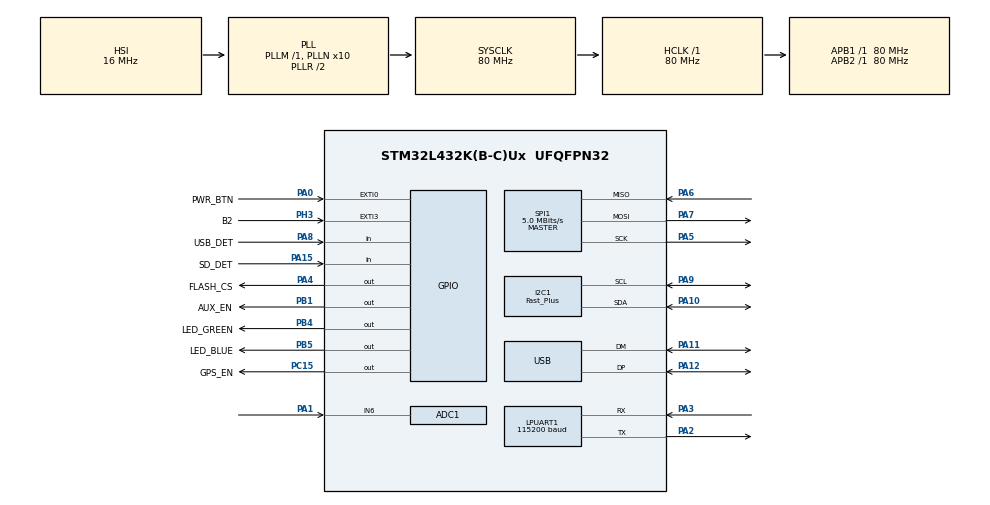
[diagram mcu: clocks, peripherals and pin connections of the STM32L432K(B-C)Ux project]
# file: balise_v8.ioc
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ADC1.Channel-0\#ChannelRegularConversion=ADC_CHANNEL_VREFINT
ADC1.Channel-1\#ChannelRegularConversion=ADC_CHANNEL_TEMPSENSOR
ADC1.Channel-2\#ChannelRegularConversion=ADC_CHANNEL_6
ADC1.EOCSelection=ADC_EOC_SEQ_CONV
ADC1.ExternalTrigConv=ADC_SOFTWARE_START
ADC1.NbrOfConversion=3
ADC1.NbrOfConversionFlag=1
ADC1.OffsetNumber-0\#ChannelRegularConversion=ADC_OFFSET_NONE
ADC1.OffsetNumber-1\#ChannelRegularConversion=ADC_OFFSET_NONE
ADC1.OffsetNumber-2\#ChannelRegularConversion=ADC_OFFSET_NONE
ADC1.Rank-0\#ChannelRegularConversion=1
ADC1.Rank-1\#ChannelRegularConversion=2
ADC1.Rank-2\#ChannelRegularConversion=3
ADC1.SamplingTime-0\#ChannelRegularConversion=ADC_SAMPLETIME_92CYCLES_5
ADC1.SamplingTime-1\#ChannelRegularConversion=ADC_SAMPLETIME_92CYCLES_5
ADC1.SamplingTime-2\#ChannelRegularConversion=ADC_SAMPLETIME_640CYCLES_5
ADC1.master=1
Dma.ADC1.3.Direction=DMA_PERIPH_TO_MEMORY
Dma.ADC1.3.Instance=DMA1_Channel1
Dma.ADC1.3.MemDataAlignment=DMA_MDATAALIGN_HALFWORD
Dma.ADC1.3.MemInc=DMA_MINC_ENABLE
Dma.ADC1.3.Mode=DMA_NORMAL
Dma.ADC1.3.PeriphDataAlignment=DMA_PDATAALIGN_HALFWORD
Dma.ADC1.3.PeriphInc=DMA_PINC_DISABLE
Dma.ADC1.3.Priority=DMA_PRIORITY_LOW
Dma.I2C1_TX.4.Direction=DMA_MEMORY_TO_PERIPH
Dma.I2C1_TX.4.Instance=DMA1_Channel6
Dma.I2C1_TX.4.MemDataAlignment=DMA_MDATAALIGN_BYTE
Dma.I2C1_TX.4.MemInc=DMA_MINC_ENABLE
Dma.I2C1_TX.4.Mode=DMA_NORMAL
Dma.I2C1_TX.4.PeriphDataAlignment=DMA_PDATAALIGN_BYTE
Dma.I2C1_TX.4.PeriphInc=DMA_PINC_DISABLE
Dma.I2C1_TX.4.Priority=DMA_PRIORITY_LOW
Dma.LPUART_RX.0.Direction=DMA_PERIPH_TO_MEMORY
Dma.LPUART_RX.0.Instance=DMA2_Channel7
Dma.LPUART_RX.0.MemDataAlignment=DMA_MDATAALIGN_BYTE
Dma.LPUART_RX.0.MemInc=DMA_MINC_ENABLE
Dma.LPUART_RX.0.Mode=DMA_CIRCULAR
Dma.LPUART_RX.0.PeriphDataAlignment=DMA_PDATAALIGN_BYTE
Dma.LPUART_RX.0.PeriphInc=DMA_PINC_DISABLE
Dma.LPUART_RX.0.Priority=DMA_PRIORITY_LOW
Dma.Request0=LPUART_RX
Dma.Request1=SPI1_RX
Dma.Request2=SPI1_TX
Dma.Request3=ADC1
Dma.Request4=I2C1_TX
Dma.SPI1_RX.1.Direction=DMA_PERIPH_TO_MEMORY
Dma.SPI1_RX.1.Instance=DMA1_Channel2
Dma.SPI1_RX.1.MemDataAlignment=DMA_MDATAALIGN_BYTE
Dma.SPI1_RX.1.MemInc=DMA_MINC_ENABLE
Dma.SPI1_RX.1.Mode=DMA_NORMAL
Dma.SPI1_RX.1.PeriphDataAlignment=DMA_PDATAALIGN_BYTE
Dma.SPI1_RX.1.PeriphInc=DMA_PINC_DISABLE
Dma.SPI1_RX.1.Priority=DMA_PRIORITY_LOW
Dma.SPI1_TX.2.Direction=DMA_MEMORY_TO_PERIPH
Dma.SPI1_TX.2.Instance=DMA1_Channel3
Dma.SPI1_TX.2.MemDataAlignment=DMA_MDATAALIGN_BYTE
Dma.SPI1_TX.2.MemInc=DMA_MINC_ENABLE
Dma.SPI1_TX.2.Mode=DMA_NORMAL
Dma.SPI1_TX.2.PeriphDataAlignment=DMA_PDATAALIGN_BYTE
Dma.SPI1_TX.2.PeriphInc=DMA_PINC_DISABLE
Dma.SPI1_TX.2.Priority=DMA_PRIORITY_LOW
FATFS._MAX_SS=512
FATFS._MIN_SS=512
FREERTOS.INCLUDE_uxTaskGetStackHighWaterMark=1
FREERTOS.INCLUDE_vTaskDelayUntil=1
FREERTOS.Tasks01=MainTask,0,768,StartMainTask,Default,NULL,Dynamic,NULL,NULL;SensorTask,0,512,StartSensorTask,Default,NULL,Dynamic,NULL,NULL;TrackerTask,0,1024,StartTrackerTask,Default,NULL,Dynamic,NULL,NULL;PWRTask,2,512,StartPWRTask,Default,NULL,Dynamic,NULL,NULL
FREERTOS.configTOTAL_HEAP_SIZE=20000
FREERTOS.configUSE_NEWLIB_REENTRANT=1
I2C1.I2C_Speed_Mode=I2C_Fast_Plus
I2C1.Timing=0x00B10E24
LPUART1.BaudRate=115200
LPUART1.WordLength=UART_WORDLENGTH_8B
Mcu.Family=STM32L4
Mcu.Name=STM32L432K(B-C)Ux
Mcu.Package=UFQFPN32
NVIC.DMA1_Channel1_IRQn=true\:5\:0\:false\:false\:true\:true\:false\:true\:true
NVIC.DMA1_Channel2_IRQn=true\:5\:0\:false\:false\:true\:true\:false\:true\:true
NVIC.DMA1_Channel3_IRQn=true\:5\:0\:false\:false\:true\:true\:false\:true\:true
NVIC.DMA1_Channel6_IRQn=true\:5\:0\:false\:false\:true\:true\:false\:true\:true
NVIC.DMA2_Channel7_IRQn=true\:5\:0\:false\:false\:true\:true\:false\:true\:true
NVIC.EXTI0_IRQn=true\:5\:0\:false\:false\:true\:true\:true\:true\:true
NVIC.EXTI3_IRQn=true\:5\:0\:false\:false\:true\:true\:true\:true\:true
NVIC.I2C1_ER_IRQn=true\:5\:0\:false\:false\:true\:true\:true\:true\:true
NVIC.I2C1_EV_IRQn=true\:5\:0\:false\:false\:true\:true\:true\:true\:true
NVIC.PriorityGroup=NVIC_PRIORITYGROUP_4
NVIC.TIM1_UP_TIM16_IRQn=true\:15\:0\:false\:false\:true\:false\:false\:true\:true
NVIC.TimeBase=TIM1_UP_TIM16_IRQn
NVIC.TimeBaseIP=TIM1
NVIC.USB_IRQn=true\:5\:0\:false\:false\:true\:true\:false\:true\:true
PA0.GPIO_Label=PWR_BTN
PA0.GPIO_ModeDefaultEXTI=GPIO_MODE_IT_RISING_FALLING
PA0.Signal=GPXTI0
PA1.Signal=ADCx_IN6
PA10.Mode=I2C
PA10.Signal=I2C1_SDA
PA11.Mode=Device
PA11.Signal=USB_DM
PA12.Mode=Device
PA12.Signal=USB_DP
PA13\ (JTMS-SWDIO).Mode=Serial_Wire
PA13\ (JTMS-SWDIO).Signal=SYS_JTMS-SWDIO
PA14\ (JTCK-SWCLK).Mode=Serial_Wire
PA14\ (JTCK-SWCLK).Signal=SYS_JTCK-SWCLK
PA15\ (JTDI).GPIO_Label=SD_DET
PA15\ (JTDI).Signal=GPIO_Input
PA2.Mode=Asynchronous
PA2.Signal=LPUART1_TX
PA3.Mode=Asynchronous
PA3.Signal=LPUART1_RX
PA4.GPIO_Label=FLASH_CS
PA4.Signal=GPIO_Output
PA5.Mode=Full_Duplex_Master
PA5.Signal=SPI1_SCK
PA6.Mode=Full_Duplex_Master
PA6.Signal=SPI1_MISO
PA7.Mode=Full_Duplex_Master
PA7.Signal=SPI1_MOSI
PA8.GPIO_Label=USB_DET
PA8.Signal=GPIO_Input
PA9.Mode=I2C
PA9.Signal=I2C1_SCL
PB1.GPIO_Label=AUX_EN
PB1.Signal=GPIO_Output
PB4\ (NJTRST).GPIO_Label=LED_GREEN
PB4\ (NJTRST).Signal=GPIO_Output
PB5.GPIO_Label=LED_BLUE
PB5.Signal=GPIO_Output
PC15-OSC32_OUT\ (PC15).GPIO_Label=GPS_EN
PC15-OSC32_OUT\ (PC15).Signal=GPIO_Output
PH3-BOOT0.GPIO_Label=B2
PH3-BOOT0.GPIO_ModeDefaultEXTI=GPIO_MODE_IT_RISING_FALLING
PH3-BOOT0.GPIO_PuPd=GPIO_NOPULL
PH3-BOOT0.Signal=GPXTI3
ProjectManager.HeapSize=0x200
ProjectManager.StackSize=0x400
ProjectManager.TargetToolchain=STM32CubeIDE
RCC.ADCFreq_Value=64000000
RCC.AHBFreq_Value=80000000
RCC.APB1Freq_Value=80000000
RCC.APB1TimFreq_Value=80000000
RCC.APB2Freq_Value=80000000
RCC.APB2TimFreq_Value=80000000
RCC.CK48CLockSelection=RCC_USBCLKSOURCE_HSI48
RCC.CortexFreq_Value=80000000
RCC.HCLKFreq_Value=80000000
RCC.HSE_VALUE=8000000
RCC.HSI48_VALUE=48000000
RCC.HSI_VALUE=16000000
RCC.LSE_VALUE=32768
RCC.MSI_VALUE=4000000
RCC.PLLN=10
RCC.PLLSourceVirtual=RCC_PLLSOURCE_HSI
RCC.SYSCLKFreq_VALUE=80000000
RCC.SYSCLKSource=RCC_SYSCLKSOURCE_PLLCLK
RCC.USBFreq_Value=48000000
RCC.VCOOutputFreq_Value=160000000
SH.ADCx_IN6.0=ADC1_IN6,IN6-Single-Ended
SPI1.BaudRatePrescaler=SPI_BAUDRATEPRESCALER_16
SPI1.CalculateBaudRate=5.0 MBits/s
SPI1.DataSize=SPI_DATASIZE_8BIT
SPI1.Direction=SPI_DIRECTION_2LINES
SPI1.Mode=SPI_MODE_MASTER
SPI1.VirtualType=VM_MASTER
USB_DEVICE.CLASS_NAME_FS=MSC
USB_DEVICE.VirtualMode=Msc
USB_DEVICE.VirtualModeFS=Msc_FS
VP_ADC1_TempSens_Input.Mode=IN-TempSens
VP_ADC1_Vref_Input.Mode=IN-Vrefint
VP_FATFS_VS_Generic.Mode=User_defined
VP_FREERTOS_VS_CMSIS_V1.Mode=CMSIS_V1
VP_SYS_VS_tim1.Mode=TIM1
VP_USB_DEVICE_VS_USB_DEVICE_MSC_FS.Mode=MSC_FS
board=custom

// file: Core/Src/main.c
/* USER CODE BEGIN Header */
/**
 ******************************************************************************
 * @file           : main.c
 * @brief          : Main program body
 ******************************************************************************
 * @attention
 *
 * Copyright (c) 2025 STMicroelectronics.
 * All rights reserved.
 *
 * This software is licensed under terms that can be found in the LICENSE file
 * in the root directory of this software component.
 * If no LICENSE file comes with this software, it is provided AS-IS.
 *
 ******************************************************************************
 */
/* USER CODE END Header */
#include "main.h"
#include "cmsis_os.h"
#include "adc.h"
#include "dma.h"
#include "fatfs.h"
#include "i2c.h"
#include "usart.h"
#include "spi.h"
#include "usb_device.h"
#include "gpio.h"

/* USER CODE BEGIN Includes */
#include "ssd1306.h"
#include "statemachine.h"
#include "GNSS.h"
#include "pwr.h"
#include "sd_app.h"

/* USER CODE END Includes */

/* USER CODE BEGIN PV */

AppStateMachineContext state_struct = { .state = STATE_SPEED, .spdstate =
		STATE_GROS, .balisestate = BALISESTATE1,
		.ecranstate = ECRANBALISESTATE1, .posstate = STATE_SUMMARY1,
};

GNSS_StateHandle GNSSData;
Buttons_t gButtons = { 0 };
AdcContext_t gAdc = { 0 };
uint8_t bufferscreen[50];
uint32_t lat_index[182] = {0};
uint32_t lat_index_mountain[182] = {0};
SDCard_struct sdcard;

/* USER CODE END PV */

void SystemClock_Config(void);
void MX_FREERTOS_Init(void);

/* USER CODE BEGIN 0 */

void HAL_GPIO_EXTI_Callback(uint16_t GPIO_Pin) {
	/* -------------------- BTN_A sur PA15 -------------------- */
	if (GPIO_Pin == B2_Pin) {
		if (HAL_GPIO_ReadPin(B2_GPIO_Port, B2_Pin) == GPIO_PIN_SET) {
			gButtons.pressStart_B_ms = HAL_GetTick();
		} else {
			uint32_t now = HAL_GetTick();
			uint32_t dur = 0;

			if (gButtons.pressStart_B_ms != 0) {
				dur = now - gButtons.pressStart_B_ms;

				gButtons.time_B_ms = dur;
				gButtons.pressStart_B_ms = 0;

				if (dur >= 50 && dur <= 400) {
					gButtons.BTN_B = 1;
					gButtons.BTN_B_LONG = 0;
				} else if (dur >= 400) {
					gButtons.BTN_B_LONG = 1;
					gButtons.BTN_B = 0;
				} else {
					gButtons.BTN_B = 0;
					gButtons.BTN_B_LONG = 0;
				}
			}
		}
	}

	/* -------------------- BTN_PW sur PA0 -------------------- */
	if (GPIO_Pin == PWR_BTN_Pin) {
		if (HAL_GPIO_ReadPin(PWR_BTN_GPIO_Port, PWR_BTN_Pin)
				== GPIO_PIN_RESET) {
			gButtons.PW_BTN_FALLING_FLAG = 1;

		} else {
			gButtons.PW_BTN_RISING_FLAG = 1;
		}
	}
}

void HAL_ADC_ConvCpltCallback(ADC_HandleTypeDef *hadc) {
	if (hadc->Instance == ADC1) {
		const float vref_cal = (float) STM32L432_VREFINT_CAL();
		const float ts_cal1 = (float) STM32L432_TS_CAL1();
		const float ts_cal2 = (float) STM32L432_TS_CAL2();

		const float adc_vref = (float) gAdc.raw[0];
		const float adc_ts = (float) gAdc.raw[1];
		const float adc_vbat = (float) gAdc.raw[2];

		gAdc.vrefint = (STM32L432_VDDA_CAL_V * vref_cal) / adc_vref;

		const float ts_data_3v = (adc_ts * vref_cal) / adc_vref;

		gAdc.temp = ((ts_data_3v - ts_cal1)
				* (STM32L432_TS_CAL2_TEMP_C - STM32L432_TS_CAL1_TEMP_C)
				/ (ts_cal2 - ts_cal1)) + STM32L432_TS_CAL1_TEMP_C;

		gAdc.vbat = 2.0f * (adc_vbat / 4095.0f) * gAdc.vrefint;
	}

}

void HAL_UART_RxHalfCpltCallback(UART_HandleTypeDef *huart) {
	if (huart->Instance == LPUART1) {
		GNSSData.write_index = 256;

	}
}

void HAL_UART_RxCpltCallback(UART_HandleTypeDef *huart) {
	if (huart->Instance == LPUART1) {
		GNSSData.write_index = 0;
	}
}

#ifdef USE_FAST_PRINT

void fast_printf(char *buf, const char *text, float val, ValType type,
		int precision, PosType pos) {
	// 1. Si le texte est un préfixe, on l'écrit d'abord
	if (pos == POS_PREFIX && text != NULL) {
		while (*text)
			*buf++ = *text++;
	}

	// 2. Écriture de la valeur
	if (type == TYPE_INT) {
		int32_t v = (int32_t) val;
		if (v == 0) {
			*buf++ = '0';
		} else {
			if (v < 0) {
				*buf++ = '-';
				v = -v;
			}
			char temp[12];
			int i = 0;
			while (v > 0) {
				temp[i++] = (v % 10) + '0';
				v /= 10;
			}
			while (i > 0)
				*buf++ = temp[--i];
		}
	} else {
		int32_t int_part = (int32_t) val;
		if (val < 0) {
			*buf++ = '-';
			val = -val;
			int_part = (int32_t) val;
		}

		if (int_part == 0) {
			*buf++ = '0';
		} else {
			char temp[12];
			int i = 0;
			while (int_part > 0) {
				temp[i++] = (int_part % 10) + '0';
				int_part /= 10;
			}
			while (i > 0)
				*buf++ = temp[--i];
		}

		*buf++ = '.';
		float frac = val - (int32_t) val;
		for (int i = 0; i < precision; i++) {
			frac *= 10;
			int digit = (int) frac;
			*buf++ = digit + '0';
			frac -= digit;
		}
	}

	// 3. Si le texte est un suffixe, on l'écrit après
	if (pos == POS_SUFFIX && text != NULL) {
		while (*text)
			*buf++ = *text++;
	}

	*buf = '\0';
}

#endif

/* USER CODE END 0 */

int main(void)
{

  /* MCU Configuration--------------------------------------------------------*/

  /* Reset of all peripherals, Initializes the Flash interface and the Systick. */
  HAL_Init();

  /* USER CODE BEGIN Init */

#ifndef DEBUG1
	PWR_StartupCheckButton();
#endif
  /* USER CODE END Init */

  /* Configure the system clock */
  SystemClock_Config();

  /* Initialize all configured peripherals */
  MX_GPIO_Init();
  MX_DMA_Init();
  MX_I2C1_Init();
  MX_LPUART1_UART_Init();
  MX_SPI1_Init();
  MX_ADC1_Init();
  MX_FATFS_Init();
  /* USER CODE BEGIN 2 */

	HAL_GPIO_WritePin(AUX_EN_GPIO_Port, AUX_EN_Pin, GPIO_PIN_SET);
	HAL_GPIO_WritePin(GPS_EN_GPIO_Port, GPS_EN_Pin, GPIO_PIN_SET);

	HAL_Delay(10);
	ssd1306_Init();
	HAL_Delay(10);
	ssd1306_Fill(Black);

	ssd1306_DrawBitmap(32, 32, startimg, 64, 32, White);
	ssd1306_UpdateScreen();

	HAL_ADC_Start_DMA(&hadc1, (uint32_t*) gAdc.raw, 3);

	GNSS_Init(&GNSSData, &hlpuart1);
	HAL_UART_Abort(&hlpuart1);
	HAL_UART_Receive_DMA(&hlpuart1, (uint8_t*) GNSSData.circular_buffer, 512);
	__HAL_DMA_ENABLE_IT(hlpuart1.hdmarx, DMA_IT_HT);

	Init_Sd(&sdcard);

#ifdef DEBUG1
	    CoreDebug->DEMCR |= CoreDebug_DEMCR_TRCENA_Msk;
	    DWT->CYCCNT = 0;
	    DWT->CTRL |= DWT_CTRL_CYCCNTENA_Msk;
#endif
	HAL_Delay(200);
	ssd1306_Fill(Black);

  /* USER CODE END 2 */

  /* Call init function for freertos objects (in cmsis_os2.c) */
  MX_FREERTOS_Init();

  /* Start scheduler */
  osKernelStart();

  /* We should never get here as control is now taken by the scheduler */

  /* Infinite loop */
	while (1) {

	}
}

void SystemClock_Config(void)
{
  RCC_OscInitTypeDef RCC_OscInitStruct = {0};
  RCC_ClkInitTypeDef RCC_ClkInitStruct = {0};

  /** Configure the main internal regulator output voltage
  */
  if (HAL_PWREx_ControlVoltageScaling(PWR_REGULATOR_VOLTAGE_SCALE1) != HAL_OK)
  {
    Error_Handler();
  }

  /** Initializes the RCC Oscillators according to the specified parameters
  * in the RCC_OscInitTypeDef structure.
  */
  RCC_OscInitStruct.OscillatorType = RCC_OSCILLATORTYPE_HSI48|RCC_OSCILLATORTYPE_HSI;
  RCC_OscInitStruct.HSIState = RCC_HSI_ON;
  RCC_OscInitStruct.HSI48State = RCC_HSI48_ON;
  RCC_OscInitStruct.HSICalibrationValue = RCC_HSICALIBRATION_DEFAULT;
  RCC_OscInitStruct.PLL.PLLState = RCC_PLL_ON;
  RCC_OscInitStruct.PLL.PLLSource = RCC_PLLSOURCE_HSI;
  RCC_OscInitStruct.PLL.PLLM = 1;
  RCC_OscInitStruct.PLL.PLLN = 10;
  RCC_OscInitStruct.PLL.PLLP = RCC_PLLP_DIV7;
  RCC_OscInitStruct.PLL.PLLQ = RCC_PLLQ_DIV2;
  RCC_OscInitStruct.PLL.PLLR = RCC_PLLR_DIV2;
  if (HAL_RCC_OscConfig(&RCC_OscInitStruct) != HAL_OK)
  {
    Error_Handler();
  }

  /** Initializes the CPU, AHB and APB buses clocks
  */
  RCC_ClkInitStruct.ClockType = RCC_CLOCKTYPE_HCLK|RCC_CLOCKTYPE_SYSCLK
                              |RCC_CLOCKTYPE_PCLK1|RCC_CLOCKTYPE_PCLK2;
  RCC_ClkInitStruct.SYSCLKSource = RCC_SYSCLKSOURCE_PLLCLK;
  RCC_ClkInitStruct.AHBCLKDivider = RCC_SYSCLK_DIV1;
  RCC_ClkInitStruct.APB1CLKDivider = RCC_HCLK_DIV1;
  RCC_ClkInitStruct.APB2CLKDivider = RCC_HCLK_DIV1;

  if (HAL_RCC_ClockConfig(&RCC_ClkInitStruct, FLASH_LATENCY_4) != HAL_OK)
  {
    Error_Handler();
  }
}

void HAL_TIM_PeriodElapsedCallback(TIM_HandleTypeDef *htim)
{
  if (htim->Instance == TIM1)
  {
    HAL_IncTick();
  }
}

void Error_Handler(void)
{
	__disable_irq();
	while (1) {
	}
}

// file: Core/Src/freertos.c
/* USER CODE BEGIN Header */
/**
  ******************************************************************************
  * File Name          : freertos.c
  * Description        : Code for freertos applications
  ******************************************************************************
  * @attention
  *
  * Copyright (c) 2025 STMicroelectronics.
  * All rights reserved.
  *
  * This software is licensed under terms that can be found in the LICENSE file
  * in the root directory of this software component.
  * If no LICENSE file comes with this software, it is provided AS-IS.
  *
  ******************************************************************************
  */
/* USER CODE END Header */

#include "FreeRTOS.h"
#include "task.h"
#include "main.h"
#include "cmsis_os.h"

/* USER CODE BEGIN Includes */
#include "ssd1306.h"
#include "statemachine.h"
#include "GNSS.h"
#include "pwr.h"
#include "sd_app.h"
#include "adc.h"
/* USER CODE END Includes */

/* USER CODE BEGIN Variables */

extern AppStateMachineContext state_struct;
extern GNSS_StateHandle GNSSData;
extern Buttons_t gButtons;
extern AdcContext_t gAdc;
extern SDCard_struct sdcard;
extern uint32_t lat_index[182];

#ifdef DEBUG1
debugtime dbgtime;

UBaseType_t stackstate;
UBaseType_t stackgps;
UBaseType_t stacktrk;

#endif
/* USER CODE END Variables */
osThreadId MainTaskHandle;
osThreadId SensorTaskHandle;
osThreadId TrackerTaskHandle;
osThreadId PWRTaskHandle;

void StartMainTask(void const * argument);
void StartSensorTask(void const * argument);
void StartTrackerTask(void const * argument);
void StartPWRTask(void const * argument);

extern void MX_USB_DEVICE_Init(void);
void MX_FREERTOS_Init(void); /* (MISRA C 2004 rule 8.1) */

/* GetIdleTaskMemory prototype (linked to static allocation support) */
void vApplicationGetIdleTaskMemory( StaticTask_t **ppxIdleTaskTCBBuffer, StackType_t **ppxIdleTaskStackBuffer, uint32_t *pulIdleTaskStackSize );

/* USER CODE BEGIN GET_IDLE_TASK_MEMORY */
static StaticTask_t xIdleTaskTCBBuffer;
static StackType_t xIdleStack[configMINIMAL_STACK_SIZE];

void vApplicationGetIdleTaskMemory( StaticTask_t **ppxIdleTaskTCBBuffer, StackType_t **ppxIdleTaskStackBuffer, uint32_t *pulIdleTaskStackSize )
{
  *ppxIdleTaskTCBBuffer = &xIdleTaskTCBBuffer;
  *ppxIdleTaskStackBuffer = &xIdleStack[0];
  *pulIdleTaskStackSize = configMINIMAL_STACK_SIZE;
  /* place for user code */
}
/* USER CODE END GET_IDLE_TASK_MEMORY */

void MX_FREERTOS_Init(void) {
  /* USER CODE BEGIN Init */

#ifdef DEBUG1
     dbgtime.gpstime=0;
     dbgtime.gpstimemax=0;
     dbgtime.sdtime=0;
     dbgtime.sdtimemax=0;
     dbgtime.statetime=0;
     dbgtime.statetimemax=0;
#endif

  /* USER CODE END Init */

  /* Create the thread(s) */
  /* definition and creation of MainTask */
  osThreadDef(MainTask, StartMainTask, osPriorityNormal, 0, 768);
  MainTaskHandle = osThreadCreate(osThread(MainTask), NULL);

  /* definition and creation of SensorTask */
  osThreadDef(SensorTask, StartSensorTask, osPriorityNormal, 0, 512);
  SensorTaskHandle = osThreadCreate(osThread(SensorTask), NULL);

  /* definition and creation of TrackerTask */
  osThreadDef(TrackerTask, StartTrackerTask, osPriorityNormal, 0, 1024);
  TrackerTaskHandle = osThreadCreate(osThread(TrackerTask), NULL);

  /* definition and creation of PWRTask */
  osThreadDef(PWRTask, StartPWRTask, osPriorityHigh, 0, 512);
  PWRTaskHandle = osThreadCreate(osThread(PWRTask), NULL);

}

void StartMainTask(void const * argument)
{
  /* init code for USB_DEVICE */
  MX_USB_DEVICE_Init();
  /* USER CODE BEGIN StartMainTask */
  TickType_t xLastWakeTime;
  const TickType_t period = pdMS_TO_TICKS(100);
#ifdef DEBUG1
  uint32_t cycles_actuels = DWT->CYCCNT;
#endif
  xLastWakeTime = xTaskGetTickCount();
  /* Infinite loop */
  for(;;)
  {
#ifdef DEBUG1
      cycles_actuels = DWT->CYCCNT;
#endif

	  HAL_GPIO_TogglePin(LED_GREEN_GPIO_Port,LED_GREEN_Pin);
	  StateMachine_Run(&state_struct,&GNSSData,&gButtons,&gAdc,&sdcard);
	  ssd1306_UpdateScreen();
#ifdef DEBUG1
	  dbgtime.statetime=DWT->CYCCNT - cycles_actuels;
	  if(dbgtime.statetime > dbgtime.statetimemax){
		  dbgtime.statetimemax=dbgtime.statetime;
	  }
	  stackstate = uxTaskGetStackHighWaterMark(NULL);
#endif

	  vTaskDelayUntil(&xLastWakeTime, period);
  }
  /* USER CODE END StartMainTask */
}

void StartSensorTask(void const * argument)
{
  /* USER CODE BEGIN StartSensorTask */
	  TickType_t xLastWakeTime;
	  const TickType_t period = pdMS_TO_TICKS(100);
	  uint8_t counter=0;
#ifdef DEBUG1
	  uint32_t cycles_actuels = DWT->CYCCNT;
#endif
	  xLastWakeTime = xTaskGetTickCount();
  /* Infinite loop */
  for(;;)
  {
#ifdef DEBUG1
      cycles_actuels = DWT->CYCCNT;
#endif
		GNSS_Process(&GNSSData);
		counter = counter + 1 ;
		if(counter == 10){
			counter=0;
			HAL_ADC_Start_DMA(&hadc1, (uint32_t*)gAdc.raw, 3);
		}

#ifdef DEBUG1
		  dbgtime.gpstime=DWT->CYCCNT - cycles_actuels;
		  if(dbgtime.gpstime > dbgtime.gpstimemax){
			  dbgtime.gpstimemax=dbgtime.gpstime;
		  }

		  stackgps = uxTaskGetStackHighWaterMark(NULL);

#endif

	  vTaskDelayUntil(&xLastWakeTime, period);
  }
  /* USER CODE END StartSensorTask */
}

void StartTrackerTask(void const * argument)
{
  /* USER CODE BEGIN StartTrackerTask */
	state_struct.search_initialised=0;
	state_struct.city_search_done=1;
	  TickType_t xLastWakeTime;
	  const TickType_t period = pdMS_TO_TICKS(100);
#ifdef DEBUG1
	  uint32_t cycles_actuels = DWT->CYCCNT;
	  uint32_t sd_history[5] = {0};
	  	uint8_t history_idx = 0;
	  	uint8_t history_count = 0;
#endif
	  xLastWakeTime = xTaskGetTickCount();
  /* Infinite loop */
  for(;;)
  {
#ifdef DEBUG1
      cycles_actuels = DWT->CYCCNT;
#endif
	  SD_Manager(&sdcard,&GNSSData,&gAdc);
	  FindClosest(&GNSSData,&state_struct,&sdcard);
#ifdef DEBUG1
	  uint32_t current_time = DWT->CYCCNT - cycles_actuels;
	  sd_history[history_idx] = current_time;
	  history_idx = (history_idx + 1) % 5;
	  if (history_count < 5) {
		  history_count++;
	  }
	  uint64_t sum = 0;
	  for(uint8_t i = 0; i < history_count; i++) {
		  sum += sd_history[i];
	  }
	  dbgtime.sdtime = (uint32_t)(sum / history_count);
	  if(current_time > dbgtime.sdtimemax){
		  dbgtime.sdtimemax = current_time;
	  }

	  stacktrk = uxTaskGetStackHighWaterMark(NULL);
#endif
	  vTaskDelayUntil(&xLastWakeTime, period);
  }
  /* USER CODE END StartTrackerTask */
}

void StartPWRTask(void const * argument)
{
  /* USER CODE BEGIN StartPWRTask */
    TickType_t xLastWakeTime;
    const TickType_t period = pdMS_TO_TICKS(10);
    xLastWakeTime = xTaskGetTickCount();

  /* Infinite loop */
  for(;;)
  {
      PWR_ProcessPWButton(&gButtons);

      vTaskDelayUntil(&xLastWakeTime, period);
  }
  /* USER CODE END StartPWRTask */
}
